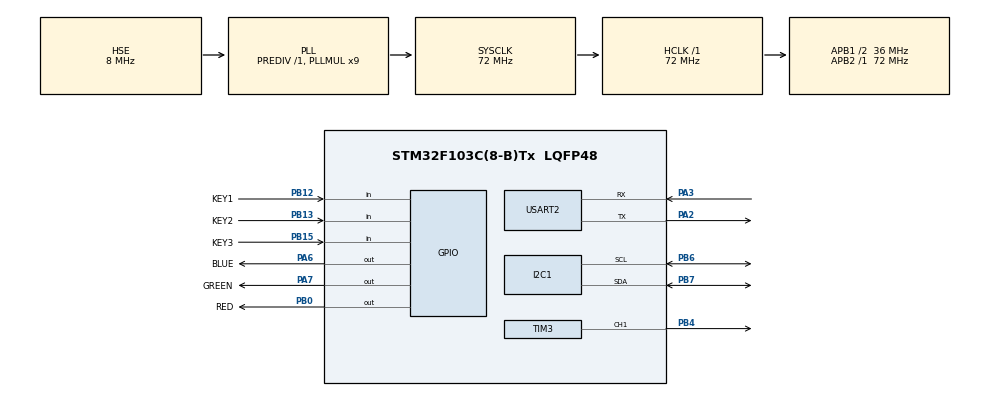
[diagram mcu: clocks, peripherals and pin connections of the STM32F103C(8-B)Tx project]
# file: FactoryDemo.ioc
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Dma.Request0=TIM3_CH1/TRIG
Dma.TIM3_CH1/TRIG.0.Direction=DMA_MEMORY_TO_PERIPH
Dma.TIM3_CH1/TRIG.0.Instance=DMA1_Channel6
Dma.TIM3_CH1/TRIG.0.MemDataAlignment=DMA_MDATAALIGN_HALFWORD
Dma.TIM3_CH1/TRIG.0.MemInc=DMA_MINC_ENABLE
Dma.TIM3_CH1/TRIG.0.Mode=DMA_NORMAL
Dma.TIM3_CH1/TRIG.0.PeriphDataAlignment=DMA_PDATAALIGN_HALFWORD
Dma.TIM3_CH1/TRIG.0.PeriphInc=DMA_PINC_DISABLE
Dma.TIM3_CH1/TRIG.0.Priority=DMA_PRIORITY_LOW
FREERTOS.Tasks01=oledTask,24,386,StartOledTask,Default,NULL,Dynamic,NULL,NULL;rgbTask,24,128,StartRgbTask,Default,NULL,Dynamic,NULL,NULL;keyTask,23,128,StartKeyTask,Default,NULL,Dynamic,NULL,NULL
FREERTOS.configTICK_RATE_HZ=1000
FREERTOS.configTOTAL_HEAP_SIZE=4096
FREERTOS.configUSE_NEWLIB_REENTRANT=1
I2C1.I2C_Mode=I2C_Fast
Mcu.Family=STM32F1
Mcu.Name=STM32F103C(8-B)Tx
Mcu.Package=LQFP48
NVIC.DMA1_Channel6_IRQn=true\:5\:0\:false\:false\:true\:true\:false\:true\:true
NVIC.PriorityGroup=NVIC_PRIORITYGROUP_4
NVIC.TIM4_IRQn=true\:15\:0\:false\:false\:true\:false\:false\:true\:true
NVIC.TimeBase=TIM4_IRQn
NVIC.TimeBaseIP=TIM4
NVIC.USART2_IRQn=true\:5\:0\:false\:false\:true\:true\:true\:true\:true
PA13.Mode=Serial_Wire
PA13.Signal=SYS_JTMS-SWDIO
PA14.Mode=Serial_Wire
PA14.Signal=SYS_JTCK-SWCLK
PA2.Mode=Asynchronous
PA2.Signal=USART2_TX
PA3.Mode=Asynchronous
PA3.Signal=USART2_RX
PA6.GPIO_Label=BLUE
PA6.Signal=GPIO_Output
PA7.GPIO_Label=GREEN
PA7.Signal=GPIO_Output
PB0.GPIO_Label=RED
PB0.Signal=GPIO_Output
PB12.GPIO_Label=KEY1
PB12.GPIO_PuPd=GPIO_PULLUP
PB12.Signal=GPIO_Input
PB13.GPIO_Label=KEY2
PB13.GPIO_PuPd=GPIO_PULLUP
PB13.Signal=GPIO_Input
PB15.GPIO_Label=KEY3
PB15.GPIO_PuPd=GPIO_PULLUP
PB15.Signal=GPIO_Input
PB4.GPIO_ModeDefaultPP=GPIO_MODE_AF_OD
PB4.GPIO_Speed=GPIO_SPEED_FREQ_HIGH
PB4.Signal=S_TIM3_CH1
PB6.Mode=I2C
PB6.Signal=I2C1_SCL
PB7.Mode=I2C
PB7.Signal=I2C1_SDA
PD0-OSC_IN.Mode=HSE-External-Oscillator
PD0-OSC_IN.Signal=RCC_OSC_IN
PD1-OSC_OUT.Mode=HSE-External-Oscillator
PD1-OSC_OUT.Signal=RCC_OSC_OUT
ProjectManager.HeapSize=0x200
ProjectManager.StackSize=0x400
ProjectManager.TargetToolchain=STM32CubeIDE
RCC.AHBFreq_Value=72000000
RCC.APB1CLKDivider=RCC_HCLK_DIV2
RCC.APB1Freq_Value=36000000
RCC.APB1TimFreq_Value=72000000
RCC.APB2Freq_Value=72000000
RCC.APB2TimFreq_Value=72000000
RCC.HCLKFreq_Value=72000000
RCC.PLLMUL=RCC_PLL_MUL9
RCC.PLLSourceVirtual=RCC_PLLSOURCE_HSE
RCC.SYSCLKFreq_VALUE=72000000
RCC.SYSCLKSource=RCC_SYSCLKSOURCE_PLLCLK
RCC.USBFreq_Value=72000000
SH.S_TIM3_CH1.0=TIM3_CH1,PWM Generation1 CH1
TIM3.Channel-PWM\ Generation1\ CH1=TIM_CHANNEL_1
TIM3.Period=90-1
USART2.VirtualMode=VM_ASYNC
VP_FREERTOS_VS_CMSIS_V2.Mode=CMSIS_V2
VP_SYS_VS_tim4.Mode=TIM4
VP_TIM3_VS_ClockSourceINT.Mode=Internal
board=custom

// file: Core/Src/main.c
/* USER CODE BEGIN Header */
/**
 ******************************************************************************
 * @file           : main.c
 * @brief          : Main program body
 ******************************************************************************
 * @attention
 *
 * Copyright (c) 2024 STMicroelectronics.
 * All rights reserved.
 *
 * This software is licensed under terms that can be found in the LICENSE file
 * in the root directory of this software component.
 * If no LICENSE file comes with this software, it is provided AS-IS.
 *
 ******************************************************************************
 */
/* USER CODE END Header */
#include "main.h"
#include "cmsis_os.h"
#include "dma.h"
#include "i2c.h"
#include "tim.h"
#include "usart.h"
#include "gpio.h"

/* USER CODE BEGIN Includes */
#include "aht20.h"
#include "oled.h"
#include "stdio.h"
#include "string.h"
#include "ws2812.h"

/* USER CODE END Includes */

void SystemClock_Config(void);
void MX_FREERTOS_Init(void);

int main(void)
{

  /* MCU Configuration--------------------------------------------------------*/

  /* Reset of all peripherals, Initializes the Flash interface and the Systick. */
  HAL_Init();

  /* Configure the system clock */
  SystemClock_Config();

  /* Initialize all configured peripherals */
  MX_GPIO_Init();
  MX_DMA_Init();
  MX_TIM3_Init();
  MX_I2C1_Init();
  MX_USART2_UART_Init();
  /* USER CODE BEGIN 2 */
  HAL_Delay(20); // 单片机启动比OLED上电快,需要延迟等待一下
  OLED_Init();
  AHT20_Init();
  /* USER CODE END 2 */

  /* Init scheduler */
  osKernelInitialize();

  /* Call init function for freertos objects (in freertos.c) */
  MX_FREERTOS_Init();

  /* Start scheduler */
  osKernelStart();

  /* We should never get here as control is now taken by the scheduler */
  /* Infinite loop */
  while (1)
  {

  }
}

void SystemClock_Config(void)
{
  RCC_OscInitTypeDef RCC_OscInitStruct = {0};
  RCC_ClkInitTypeDef RCC_ClkInitStruct = {0};

  /** Initializes the RCC Oscillators according to the specified parameters
  * in the RCC_OscInitTypeDef structure.
  */
  RCC_OscInitStruct.OscillatorType = RCC_OSCILLATORTYPE_HSE;
  RCC_OscInitStruct.HSEState = RCC_HSE_ON;
  RCC_OscInitStruct.HSEPredivValue = RCC_HSE_PREDIV_DIV1;
  RCC_OscInitStruct.HSIState = RCC_HSI_ON;
  RCC_OscInitStruct.PLL.PLLState = RCC_PLL_ON;
  RCC_OscInitStruct.PLL.PLLSource = RCC_PLLSOURCE_HSE;
  RCC_OscInitStruct.PLL.PLLMUL = RCC_PLL_MUL9;
  if (HAL_RCC_OscConfig(&RCC_OscInitStruct) != HAL_OK)
  {
    Error_Handler();
  }

  /** Initializes the CPU, AHB and APB buses clocks
  */
  RCC_ClkInitStruct.ClockType = RCC_CLOCKTYPE_HCLK|RCC_CLOCKTYPE_SYSCLK
                              |RCC_CLOCKTYPE_PCLK1|RCC_CLOCKTYPE_PCLK2;
  RCC_ClkInitStruct.SYSCLKSource = RCC_SYSCLKSOURCE_PLLCLK;
  RCC_ClkInitStruct.AHBCLKDivider = RCC_SYSCLK_DIV1;
  RCC_ClkInitStruct.APB1CLKDivider = RCC_HCLK_DIV2;
  RCC_ClkInitStruct.APB2CLKDivider = RCC_HCLK_DIV1;

  if (HAL_RCC_ClockConfig(&RCC_ClkInitStruct, FLASH_LATENCY_2) != HAL_OK)
  {
    Error_Handler();
  }
}

void HAL_TIM_PeriodElapsedCallback(TIM_HandleTypeDef *htim)
{
  if (htim->Instance == TIM4) {
    HAL_IncTick();
  }
}

void Error_Handler(void)
{
  __disable_irq();
  while (1)
  {
  }
}

#ifdef  USE_FULL_ASSERT
/**
  * @brief  Reports the name of the source file and the source line number
  *         where the assert_param error has occurred.
  * @param  file: pointer to the source file name
  * @param  line: assert_param error line source number
  * @retval None
  */
void assert_failed(uint8_t *file, uint32_t line)
{
  /* USER CODE BEGIN 6 */
  /* User can add his own implementation to report the file name and line
     number, ex: printf("Wrong parameters value: file %s on line %d\r\n", file,
     line) */
  /* USER CODE END 6 */
}
#endif /* USE_FULL_ASSERT */

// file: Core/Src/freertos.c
/* USER CODE BEGIN Header */
/**
 ******************************************************************************
 * File Name          : freertos.c
 * Description        : Code for freertos applications
 ******************************************************************************
 * @attention
 *
 * Copyright (c) 2024 STMicroelectronics.
 * All rights reserved.
 *
 * This software is licensed under terms that can be found in the LICENSE file
 * in the root directory of this software component.
 * If no LICENSE file comes with this software, it is provided AS-IS.
 *
 ******************************************************************************
 */
/* USER CODE END Header */

#include "FreeRTOS.h"
#include "task.h"
#include "main.h"
#include "cmsis_os.h"

/* USER CODE BEGIN Includes */
#include "usart.h"
#include "aht20.h"
#include "oled.h"
#include "stdio.h"
#include "string.h"
#include "ws2812.h"
/* USER CODE END Includes */

/* Definitions for oledTask */
osThreadId_t oledTaskHandle;
const osThreadAttr_t oledTask_attributes = {
    .name = "oledTask",
    .stack_size = 386 * 4,
    .priority = (osPriority_t)osPriorityNormal,
};
/* Definitions for rgbTask */
osThreadId_t rgbTaskHandle;
const osThreadAttr_t rgbTask_attributes = {
    .name = "rgbTask",
    .stack_size = 128 * 4,
    .priority = (osPriority_t)osPriorityNormal,
};
/* Definitions for keyTask */
osThreadId_t keyTaskHandle;
const osThreadAttr_t keyTask_attributes = {
    .name = "keyTask",
    .stack_size = 128 * 4,
    .priority = (osPriority_t)osPriorityBelowNormal7,
};

void StartOledTask(void *argument);
void StartRgbTask(void *argument);
void StartKeyTask(void *argument);

void MX_FREERTOS_Init(void); /* (MISRA C 2004 rule 8.1) */

void MX_FREERTOS_Init(void)
{

  /* Create the thread(s) */
  /* creation of oledTask */
  oledTaskHandle = osThreadNew(StartOledTask, NULL, &oledTask_attributes);

  /* creation of rgbTask */
  rgbTaskHandle = osThreadNew(StartRgbTask, NULL, &rgbTask_attributes);

  /* creation of keyTask */
  keyTaskHandle = osThreadNew(StartKeyTask, NULL, &keyTask_attributes);

}

void StartOledTask(void *argument)
{
  /* USER CODE BEGIN StartOledTask */
  /* Infinite loop */
  float Temperature = 0.0f, Humidity = 0.0f;
  char buf[25] = {0};
  for (;;)
  {
    // 中英文字符串混合显示&温湿度显示
    OLED_NewFrame();
    OLED_PrintString(31, 0, "演示程序", &font16x16, OLED_COLOR_REVERSED);
    OLED_ShowFrame();
    // osDelay(500);
    // OLED_PrintString(0, 22, "KEYSKING", &font16x16, OLED_COLOR_NORMAL);
    // OLED_ShowFrame();
    osDelay(270);
    AHT20_Read(&Temperature, &Humidity); // 测量温湿度
    sprintf(buf, "温度 %d℃", (int)Temperature);
    OLED_PrintString(0, 22, buf, &font16x16, OLED_COLOR_NORMAL);
    OLED_ShowFrame();
    osDelay(400);
    sprintf(buf, "湿度 %d%%", (int)Humidity);
    OLED_PrintString(0, 44, buf, &font16x16, OLED_COLOR_NORMAL);
    OLED_ShowFrame();
    osDelay(2500);
    // 显示变量值
    int count = 0;
    char buf[10] = {0};
    OLED_NewFrame();
    for (;;)
    {
      sprintf(buf, "%d %%", count);
      OLED_PrintASCIIString(40, 20, buf, &afont24x12, OLED_COLOR_NORMAL);
      OLED_ShowFrame();
      osDelay(15);
      if (count++ > 99)
      {
        break;
      }
    }
    osDelay(1000);
    // 直线绘制
    OLED_NewFrame();
    for (int i = 0; i < 128; i += 8)
    {
      OLED_DrawLine(0, 0, i, 63, OLED_COLOR_NORMAL);
      OLED_DrawLine(127, 0, 127 - i, 63, OLED_COLOR_NORMAL);
      OLED_ShowFrame();
      osDelay(30);
    }
    osDelay(1500);
    // 矩形绘制
    OLED_NewFrame();
    for (int i = 0; i < 64; i += 8)
    {
      OLED_DrawRectangle(i, i / 2, 127 - i * 2, 63 - i, OLED_COLOR_NORMAL);
      OLED_ShowFrame();
      osDelay(35);
    }
    osDelay(1500);
    // 矩形圆形
    OLED_NewFrame();
    for (int i = 63; i > 0; i -= 8)
    {
      OLED_DrawCircle(64, 32, i / 2, OLED_COLOR_NORMAL);
      OLED_ShowFrame();
      osDelay(40);
    }
    osDelay(1500);
    // 图片显示1
    OLED_NewFrame();
    OLED_DrawImage((128 - (bilibiliTVImg.w)) / 2, 0, &bilibiliTVImg, OLED_COLOR_NORMAL);
    OLED_ShowFrame();
    osDelay(1700);
    // 图片显示2
    // OLED_NewFrame();
    // OLED_DrawImage((128 - (bilibiliImg.w)) / 2, 0, &bilibiliImg, OLED_COLOR_NORMAL);
    // OLED_ShowFrame();
    // osDelay(3000);
  }
  /* USER CODE END StartOledTask */
}

void StartRgbTask(void *argument)
{
  /* USER CODE BEGIN StartRgbTask */
  /* Infinite loop */
  for (;;)
  {
    // 渐变更新颜色，演示1次
    for (int i = 0; i < 1; i++)
    {
      ws2812_set_all(0xFFFFFF); // 纯白色
      ws2812_gradient(200, 3);
      osDelay(700);

      ws2812_set_all(0x20B2AA); // 浅海洋绿
      ws2812_gradient(200, 3);
      osDelay(700);

      ws2812_set_all(0xFFD700); // 金色
      ws2812_gradient(200, 3);
      osDelay(700);

      // 更多颜色：https://www.w3schools.com/colors/colors_picker.asp
    }

    // 彩虹效果，演示5次
    for (int i = 0; i < 5; i++)
    {
      rainbow_effect(255, 65);
    }
  }
  /* USER CODE END StartRgbTask */
}

void StartKeyTask(void *argument)
{
  /* USER CODE BEGIN StartKeyTask */
  /* Infinite loop */
  uint16_t cnt = 0;
  for (;;)
  {
    if (HAL_GPIO_ReadPin(KEY1_GPIO_Port, KEY1_Pin) == GPIO_PIN_RESET)
    {
      HAL_GPIO_TogglePin(BLUE_GPIO_Port, BLUE_Pin);
      while (HAL_GPIO_ReadPin(KEY1_GPIO_Port, KEY1_Pin) == GPIO_PIN_RESET)
      {
        osDelay(10);
      }
    }
    if (HAL_GPIO_ReadPin(KEY2_GPIO_Port, KEY2_Pin) == GPIO_PIN_RESET)
    {
      HAL_GPIO_TogglePin(RED_GPIO_Port, RED_Pin);
      while (HAL_GPIO_ReadPin(KEY2_GPIO_Port, KEY2_Pin) == GPIO_PIN_RESET)
      {
        osDelay(10);
      }
    }
    if (HAL_GPIO_ReadPin(KEY3_GPIO_Port, KEY3_Pin) == GPIO_PIN_RESET)
    {
      HAL_GPIO_TogglePin(GREEN_GPIO_Port, GREEN_Pin);
      while (HAL_GPIO_ReadPin(KEY3_GPIO_Port, KEY3_Pin) == GPIO_PIN_RESET)
      {
        osDelay(10);
      }
    }
    osDelay(100);
    if (++cnt > 10)
    {
      HAL_UART_Transmit_IT(&huart2, (uint8_t *)"Hello World!\r\n", 14);
      cnt = 0;
    }
  }
  /* USER CODE END StartKeyTask */
}
